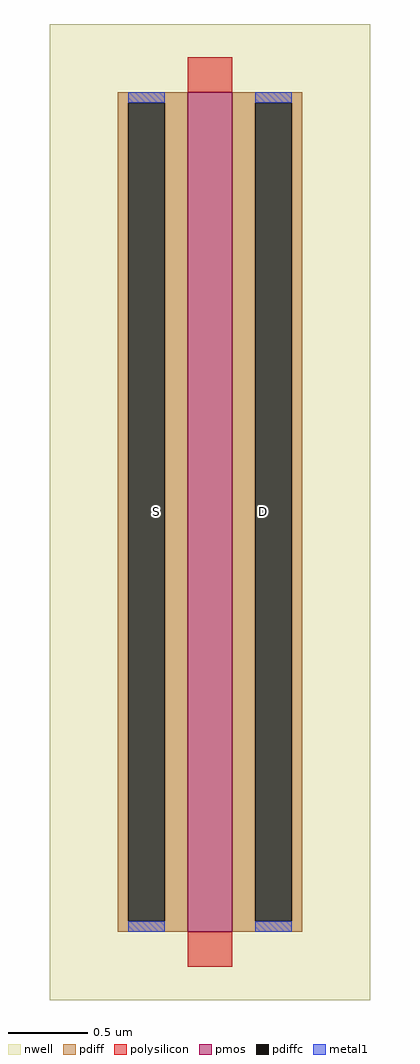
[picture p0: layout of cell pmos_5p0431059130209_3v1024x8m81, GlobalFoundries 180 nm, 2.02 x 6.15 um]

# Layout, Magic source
magic
tech gf180mcuD
magscale 1 10
<< nwell >>
rect -174 -86 230 1144
<< pmos >>
rect 0 0 56 1058
<< pdiff >>
rect -88 1045 0 1058
rect -88 13 -75 1045
rect -29 13 0 1045
rect -88 0 0 13
rect 56 1045 144 1058
rect 56 13 85 1045
rect 131 13 144 1045
rect 56 0 144 13
<< pdiffc >>
rect -75 13 -29 1045
rect 85 13 131 1045
<< polysilicon >>
rect 0 1058 56 1102
rect 0 -44 56 0
<< metal1 >>
rect -75 1045 -29 1058
rect -75 0 -29 13
rect 85 1045 131 1058
rect 85 0 131 13
<< labels >>
flabel pdiffc -40 529 -40 529 0 FreeSans 186 0 0 0 S
flabel pdiffc 96 529 96 529 0 FreeSans 186 0 0 0 D
<< end >>
